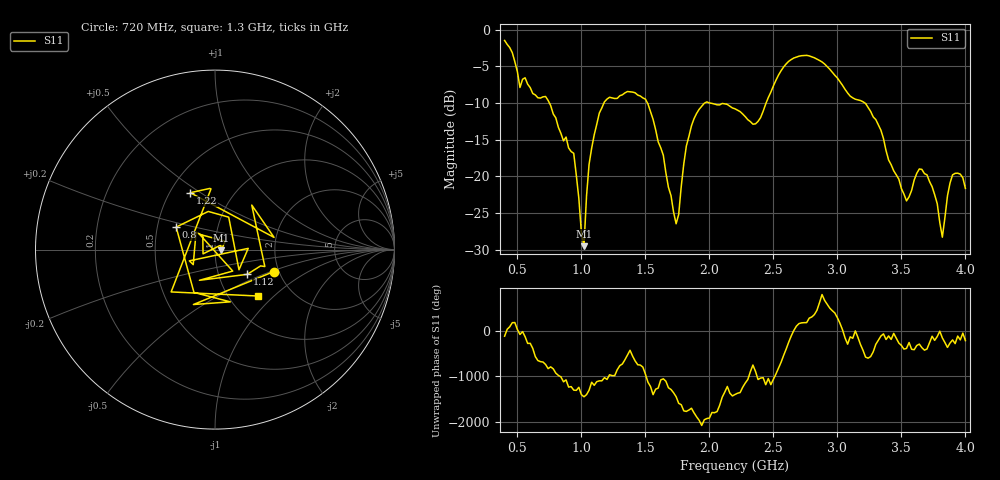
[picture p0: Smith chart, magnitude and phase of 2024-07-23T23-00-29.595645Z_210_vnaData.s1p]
!Created with skrf (http://scikit-rf.org).
# Hz S RI R 50.0
!freq ReS11 ImS11
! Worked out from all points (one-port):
!   181 points, 400 MHz to 4 GHz, reference 50 ohm
!   lowest |S11| = -29.5 dB at 1.02 GHz (marker M1), VSWR 1.07, Z = 53.4 - j0.515 ohm
!   |S11| at or under -10 dB: 1.516 GHz to 1.965 GHz (448.9 MHz wide, 25.8 % of centre); 1.999 GHz to 2.443 GHz (443.9 MHz wide, 20 % of centre); 3.214 GHz to end of sweep (the widest 3 of 4)
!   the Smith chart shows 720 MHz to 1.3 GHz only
!   S11 on the Smith chart (normalised r, x): 720 MHz: 1.88, -0.52; 800 MHz: 0.63, +0.17; 1.12 GHz: 1.37, -0.40; 1.22 GHz: 0.63, +0.45; 1.3 GHz: 1.36, -0.81
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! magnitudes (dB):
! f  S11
! 400 MHz  -1.5
! 520 MHz  -7.9
! 720 MHz  -9.1
! 800 MHz  -12.0
! 860 MHz  -15.2
! 940 MHz  -16.9
! 1.02 GHz  -29.5
! 1.06 GHz  -18.4
! 1.12 GHz  -12.9
! 1.22 GHz  -9.2
! 1.3 GHz  -9.0
! 1.52 GHz  -10.1
! 1.74 GHz  -26.5
! 1.76 GHz  -25.2
! 1.82 GHz  -15.9
! 1.9 GHz  -11.4
! 2.2 GHz  -10.8
! 2.36 GHz  -12.8
! 2.66 GHz  -3.9
! 2.88 GHz  -4.4
! 3.1 GHz  -9.1
! 3.3 GHz  -12.3
! 3.56 GHz  -22.8
! 3.64 GHz  -19.0
! 3.7 GHz  -19.8
! 3.82 GHz  -28.3
! 3.9 GHz  -19.8
! 4 GHz  -21.6
